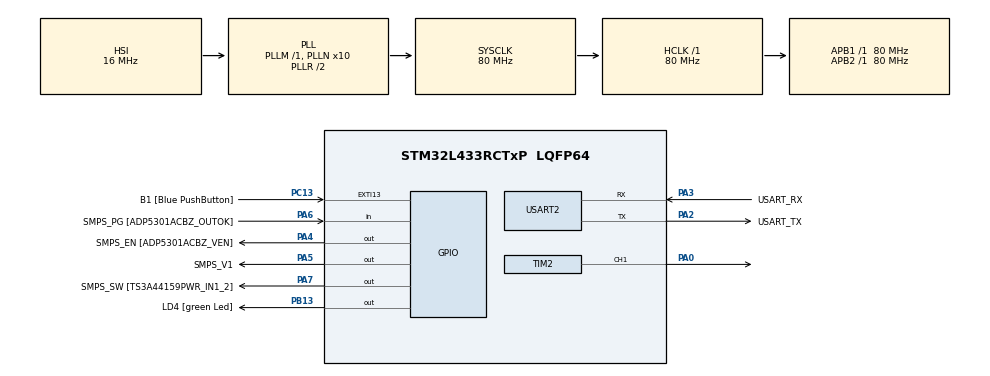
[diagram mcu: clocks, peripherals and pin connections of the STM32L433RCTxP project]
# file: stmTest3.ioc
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Mcu.Family=STM32L4
Mcu.Name=STM32L433RCTxP
Mcu.Package=LQFP64
NVIC.PriorityGroup=NVIC_PRIORITYGROUP_4
PA0.Signal=S_TIM2_CH1
PA13\ (JTMS-SWDIO).GPIO_Label=TMS
PA13\ (JTMS-SWDIO).Mode=Serial_Wire
PA13\ (JTMS-SWDIO).Signal=SYS_JTMS-SWDIO
PA14\ (JTCK-SWCLK).GPIO_Label=TCK
PA14\ (JTCK-SWCLK).Mode=Serial_Wire
PA14\ (JTCK-SWCLK).Signal=SYS_JTCK-SWCLK
PA2.GPIO_Label=USART_TX
PA2.GPIO_Mode=GPIO_MODE_AF_PP
PA2.GPIO_PuPd=GPIO_NOPULL
PA2.GPIO_Speed=GPIO_SPEED_FREQ_VERY_HIGH
PA2.Mode=Asynchronous
PA2.Signal=USART2_TX
PA3.GPIO_Label=USART_RX
PA3.GPIO_Mode=GPIO_MODE_AF_PP
PA3.GPIO_PuPd=GPIO_NOPULL
PA3.GPIO_Speed=GPIO_SPEED_FREQ_VERY_HIGH
PA3.Mode=Asynchronous
PA3.Signal=USART2_RX
PA4.GPIO_Label=SMPS_EN [ADP5301ACBZ_VEN]
PA4.Signal=GPIO_Output
PA5.GPIO_Label=SMPS_V1
PA5.GPIO_ModeDefaultOutputPP=GPIO_MODE_OUTPUT_PP
PA5.GPIO_PuPd=GPIO_NOPULL
PA5.GPIO_Speed=GPIO_SPEED_FREQ_LOW
PA5.Signal=GPIO_Output
PA6.GPIO_Label=SMPS_PG [ADP5301ACBZ_OUTOK]
PA6.GPIO_PuPd=GPIO_PULLUP
PA6.Signal=GPIO_Input
PA7.GPIO_Label=SMPS_SW [TS3A44159PWR_IN1_2]
PA7.Signal=GPIO_Output
PB13.GPIO_Label=LD4 [green Led]
PB13.Signal=GPIO_Output
PB3\ (JTDO-TRACESWO).GPIO_Label=SWO
PB3\ (JTDO-TRACESWO).Signal=SYS_JTDO-SWO
PC13.GPIO_Label=B1 [Blue PushButton]
PC13.GPIO_ModeDefaultEXTI=GPIO_MODE_IT_FALLING
PC13.GPIO_PuPd=GPIO_NOPULL
PC13.Signal=GPXTI13
PC14-OSC32_IN\ (PC14).Mode=LSE-External-Oscillator
PC14-OSC32_IN\ (PC14).Signal=RCC_OSC32_IN
PC15-OSC32_OUT\ (PC15).Mode=LSE-External-Oscillator
PC15-OSC32_OUT\ (PC15).Signal=RCC_OSC32_OUT
PH0-OSC_IN\ (PH0).GPIO_Label=MCO
PH0-OSC_IN\ (PH0).Mode=HSE-External-Clock-Source
PH0-OSC_IN\ (PH0).Signal=RCC_OSC_IN
PH1-OSC_OUT\ (PH1).Signal=RCC_OSC_OUT
ProjectManager.HeapSize=0x200
ProjectManager.StackSize=0x400
ProjectManager.TargetToolchain=STM32CubeIDE
RCC.ADCFreq_Value=64000000
RCC.AHBFreq_Value=80000000
RCC.APB1Freq_Value=80000000
RCC.APB1TimFreq_Value=80000000
RCC.APB2Freq_Value=80000000
RCC.APB2TimFreq_Value=80000000
RCC.CortexFreq_Value=80000000
RCC.HCLKFreq_Value=80000000
RCC.HSE_VALUE=8000000
RCC.HSI48_VALUE=48000000
RCC.HSI_VALUE=16000000
RCC.MSI_VALUE=4000000
RCC.PLLN=10
RCC.PLLSourceVirtual=RCC_PLLSOURCE_HSI
RCC.PREFETCH_ENABLE=1
RCC.SYSCLKFreq_VALUE=80000000
RCC.SYSCLKSource=RCC_SYSCLKSOURCE_PLLCLK
RCC.USBFreq_Value=64000000
RCC.VCOOutputFreq_Value=160000000
SH.S_TIM2_CH1.0=TIM2_CH1,PWM Generation1 CH1
TIM2.AutoReloadPreload=TIM_AUTORELOAD_PRELOAD_ENABLE
TIM2.Channel-PWM\ Generation1\ CH1=TIM_CHANNEL_1
TIM2.Period=20000-1
TIM2.Prescaler=80-1
USART2.VirtualMode-Asynchronous=VM_ASYNC
VP_TIM2_VS_ClockSourceINT.Mode=Internal
board=NUCLEO-L433RC-P

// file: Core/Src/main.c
/* USER CODE BEGIN Header */
/**
  ******************************************************************************
  * @file           : main.c
  * @brief          : Main program body
  ******************************************************************************
  * @attention
  *
  * Copyright (c) 2023 STMicroelectronics.
  * All rights reserved.
  *
  * This software is licensed under terms that can be found in the LICENSE file
  * in the root directory of this software component.
  * If no LICENSE file comes with this software, it is provided AS-IS.
  *
  ******************************************************************************
  */
/* USER CODE END Header */
#include "main.h"

/* USER CODE BEGIN PD */
#define SERVO_Motor1   0
/* USER CODE END PD */

TIM_HandleTypeDef htim2;

UART_HandleTypeDef huart2;

void SystemClock_Config(void);
static void MX_GPIO_Init(void);
static void MX_USART2_UART_Init(void);
static void MX_TIM2_Init(void);
float rover_coords[2]; //latitude, longitude
float antenna_heading_params[4]; // antenna latitude, antenna longitude, rover initial latitude, rover initial longtitude
float servo_angle[1]; // final angle (theta + 90)

/* USER CODE BEGIN 0 */
void SystemClock_Config(void);
static void MX_GPIO_Init(void);
/* USER CODE END 0 */

int main(void)
{

  /* MCU Configuration--------------------------------------------------------*/

  /* Reset of all peripherals, Initializes the Flash interface and the Systick. */
  HAL_Init();

  /* Configure the system clock */
  SystemClock_Config();

  /* Initialize all configured peripherals */
  MX_GPIO_Init();
  MX_USART2_UART_Init();
  MX_TIM2_Init();
  /* USER CODE BEGIN 2 */
  HAL_Init();
  SystemClock_Config();
  MX_GPIO_Init();
  HAL_TIM_PWM_Start(&htim2, TIM_CHANNEL_1);
  /* USER CODE END 2 */

  /* Infinite loop */
  /* USER CODE BEGIN WHILE */
  while (1){
    double new_latitude_diff = rover_coords[0] - antenna_heading_params[0];
    double new_longitude_diff = rover_coords[1] - antenna_heading_params[1];
    double initial_latitude_diff = antenna_heading_params[2] - antenna_heading_params[0];
    double initial_longitude_diff = antenna_heading_params[3] - antenna_heading_params[1];
    double new_distance = sqrt(pow(new_latitude_diff, 2) + pow(new_longitude_diff, 2)); // new distance between the antenna and the rover
    double initial_distance = sqrt(pow(initial_latitude_diff, 2) + pow(initial_longitude_diff, 2)); // initial distance between the antenna and the rover

    // Normalizing the angle
    double dot_product_initial_new_distance_diff = initial_latitude_diff * new_latitude_diff + initial_longitude_diff * new_longitude_diff;
    double divider =  new_distance * initial_distance;
    double theta_deg = 0;
    double sin_theta = 0;
    if(divider > 1e-16){
        double theta_rad = acos(dot_product_initial_new_distance_diff/(divider));
        theta_deg = theta_rad * 180.0/(acos(0)*2);
        double cross_product = new_latitude_diff * initial_longitude_diff - initial_latitude_diff * new_longitude_diff;
        sin_theta = cross_product/ divider;
    }
    if(sin_theta<0){
        servo_angle[0]=(float)(90+theta_deg);
        __HAL_TIM_SET_COMPARE(&htim2, TIM_CHANNEL_1,servo_angle[0]/180*2500);
    }
    else{
        servo_angle[0] = (float)(90 - theta_deg);
        __HAL_TIM_SET_COMPARE(&htim2, TIM_CHANNEL_1,servo_angle[0]/180*2500);
    }

    // // Adding the offset and setting the servo angle
    // if (sin_theta < 0){
    //     servo_angle[0] = (float)(90 + theta_deg);
    //     servo.write(servo_angle[0]);
    // }
    // else{
    //     servo_angle[0] = (float)(90 - theta_deg);
    //     servo.write(servo_angle[0]);
    // }
	// __HAL_TIM_SET_COMPARE(&htim2, TIM_CHANNEL_1,1500);
	// HAL_Delay(1000);
	// __HAL_TIM_SET_COMPARE(&htim2,TIM_CHANNEL_1,2000);
	// HAL_Delay(1000);

    /* USER CODE END WHILE */

  }
}

void SystemClock_Config(void)
{
  RCC_OscInitTypeDef RCC_OscInitStruct = {0};
  RCC_ClkInitTypeDef RCC_ClkInitStruct = {0};

  /** Configure the main internal regulator output voltage
  */
  if (HAL_PWREx_ControlVoltageScaling(PWR_REGULATOR_VOLTAGE_SCALE1) != HAL_OK)
  {
    Error_Handler();
  }

  /** Initializes the RCC Oscillators according to the specified parameters
  * in the RCC_OscInitTypeDef structure.
  */
  RCC_OscInitStruct.OscillatorType = RCC_OSCILLATORTYPE_HSI;
  RCC_OscInitStruct.HSIState = RCC_HSI_ON;
  RCC_OscInitStruct.HSICalibrationValue = RCC_HSICALIBRATION_DEFAULT;
  RCC_OscInitStruct.PLL.PLLState = RCC_PLL_ON;
  RCC_OscInitStruct.PLL.PLLSource = RCC_PLLSOURCE_HSI;
  RCC_OscInitStruct.PLL.PLLM = 1;
  RCC_OscInitStruct.PLL.PLLN = 10;
  RCC_OscInitStruct.PLL.PLLP = RCC_PLLP_DIV7;
  RCC_OscInitStruct.PLL.PLLQ = RCC_PLLQ_DIV2;
  RCC_OscInitStruct.PLL.PLLR = RCC_PLLR_DIV2;
  if (HAL_RCC_OscConfig(&RCC_OscInitStruct) != HAL_OK)
  {
    Error_Handler();
  }

  /** Initializes the CPU, AHB and APB buses clocks
  */
  RCC_ClkInitStruct.ClockType = RCC_CLOCKTYPE_HCLK|RCC_CLOCKTYPE_SYSCLK
                              |RCC_CLOCKTYPE_PCLK1|RCC_CLOCKTYPE_PCLK2;
  RCC_ClkInitStruct.SYSCLKSource = RCC_SYSCLKSOURCE_PLLCLK;
  RCC_ClkInitStruct.AHBCLKDivider = RCC_SYSCLK_DIV1;
  RCC_ClkInitStruct.APB1CLKDivider = RCC_HCLK_DIV1;
  RCC_ClkInitStruct.APB2CLKDivider = RCC_HCLK_DIV1;

  if (HAL_RCC_ClockConfig(&RCC_ClkInitStruct, FLASH_LATENCY_4) != HAL_OK)
  {
    Error_Handler();
  }
}

static void MX_TIM2_Init(void)
{

  TIM_ClockConfigTypeDef sClockSourceConfig = {0};
  TIM_MasterConfigTypeDef sMasterConfig = {0};
  TIM_OC_InitTypeDef sConfigOC = {0};

  htim2.Instance = TIM2;
  htim2.Init.Prescaler = 80-1;
  htim2.Init.CounterMode = TIM_COUNTERMODE_UP;
  htim2.Init.Period = 2500-1;
  htim2.Init.ClockDivision = TIM_CLOCKDIVISION_DIV1;
  htim2.Init.AutoReloadPreload = TIM_AUTORELOAD_PRELOAD_ENABLE;
  if (HAL_TIM_Base_Init(&htim2) != HAL_OK)
  {
    Error_Handler();
  }
  sClockSourceConfig.ClockSource = TIM_CLOCKSOURCE_INTERNAL;
  if (HAL_TIM_ConfigClockSource(&htim2, &sClockSourceConfig) != HAL_OK)
  {
    Error_Handler();
  }
  if (HAL_TIM_PWM_Init(&htim2) != HAL_OK)
  {
    Error_Handler();
  }
  sMasterConfig.MasterOutputTrigger = TIM_TRGO_RESET;
  sMasterConfig.MasterSlaveMode = TIM_MASTERSLAVEMODE_DISABLE;
  if (HAL_TIMEx_MasterConfigSynchronization(&htim2, &sMasterConfig) != HAL_OK)
  {
    Error_Handler();
  }
  sConfigOC.OCMode = TIM_OCMODE_PWM1;
  sConfigOC.Pulse = 0;
  sConfigOC.OCPolarity = TIM_OCPOLARITY_HIGH;
  sConfigOC.OCFastMode = TIM_OCFAST_DISABLE;
  if (HAL_TIM_PWM_ConfigChannel(&htim2, &sConfigOC, TIM_CHANNEL_1) != HAL_OK)
  {
    Error_Handler();
  }
  HAL_TIM_MspPostInit(&htim2);

}

static void MX_USART2_UART_Init(void)
{

  huart2.Instance = USART2;
  huart2.Init.BaudRate = 115200;
  huart2.Init.WordLength = UART_WORDLENGTH_8B;
  huart2.Init.StopBits = UART_STOPBITS_1;
  huart2.Init.Parity = UART_PARITY_NONE;
  huart2.Init.Mode = UART_MODE_TX_RX;
  huart2.Init.HwFlowCtl = UART_HWCONTROL_NONE;
  huart2.Init.OverSampling = UART_OVERSAMPLING_16;
  huart2.Init.OneBitSampling = UART_ONE_BIT_SAMPLE_DISABLE;
  huart2.AdvancedInit.AdvFeatureInit = UART_ADVFEATURE_NO_INIT;
  if (HAL_UART_Init(&huart2) != HAL_OK)
  {
    Error_Handler();
  }

}

static void MX_GPIO_Init(void)
{
  GPIO_InitTypeDef GPIO_InitStruct = {0};

  /* GPIO Ports Clock Enable */
  __HAL_RCC_GPIOC_CLK_ENABLE();
  __HAL_RCC_GPIOH_CLK_ENABLE();
  __HAL_RCC_GPIOA_CLK_ENABLE();
  __HAL_RCC_GPIOB_CLK_ENABLE();

  /*Configure GPIO pin Output Level */
  HAL_GPIO_WritePin(GPIOA, SMPS_EN_Pin|SMPS_V1_Pin|SMPS_SW_Pin, GPIO_PIN_RESET);

  /*Configure GPIO pin Output Level */
  HAL_GPIO_WritePin(LD4_GPIO_Port, LD4_Pin, GPIO_PIN_RESET);

  /*Configure GPIO pin : B1_Pin */
  GPIO_InitStruct.Pin = B1_Pin;
  GPIO_InitStruct.Mode = GPIO_MODE_IT_FALLING;
  GPIO_InitStruct.Pull = GPIO_NOPULL;
  HAL_GPIO_Init(B1_GPIO_Port, &GPIO_InitStruct);

  /*Configure GPIO pins : SMPS_EN_Pin SMPS_V1_Pin SMPS_SW_Pin */
  GPIO_InitStruct.Pin = SMPS_EN_Pin|SMPS_V1_Pin|SMPS_SW_Pin;
  GPIO_InitStruct.Mode = GPIO_MODE_OUTPUT_PP;
  GPIO_InitStruct.Pull = GPIO_NOPULL;
  GPIO_InitStruct.Speed = GPIO_SPEED_FREQ_LOW;
  HAL_GPIO_Init(GPIOA, &GPIO_InitStruct);

  /*Configure GPIO pin : SMPS_PG_Pin */
  GPIO_InitStruct.Pin = SMPS_PG_Pin;
  GPIO_InitStruct.Mode = GPIO_MODE_INPUT;
  GPIO_InitStruct.Pull = GPIO_PULLUP;
  HAL_GPIO_Init(SMPS_PG_GPIO_Port, &GPIO_InitStruct);

  /*Configure GPIO pin : LD4_Pin */
  GPIO_InitStruct.Pin = LD4_Pin;
  GPIO_InitStruct.Mode = GPIO_MODE_OUTPUT_PP;
  GPIO_InitStruct.Pull = GPIO_NOPULL;
  GPIO_InitStruct.Speed = GPIO_SPEED_FREQ_LOW;
  HAL_GPIO_Init(LD4_GPIO_Port, &GPIO_InitStruct);

}

void Error_Handler(void)
{
  __disable_irq();
  while (1)
  {
  }
}
